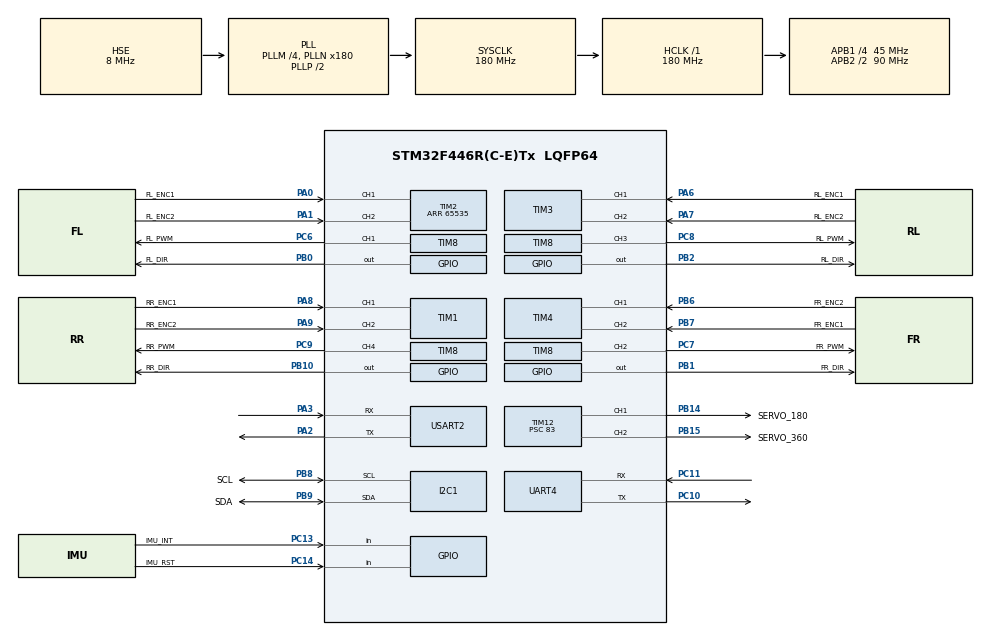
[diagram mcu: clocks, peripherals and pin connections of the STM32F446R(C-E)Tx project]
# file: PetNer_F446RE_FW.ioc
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Mcu.Family=STM32F4
Mcu.Name=STM32F446R(C-E)Tx
Mcu.Package=LQFP64
NVIC.PriorityGroup=NVIC_PRIORITYGROUP_0
NVIC.UART4_IRQn=true\:0\:0\:false\:false\:true\:true\:true\:true
NVIC.USART2_IRQn=true\:0\:0\:false\:false\:true\:true\:true\:true
PA0-WKUP.GPIO_Label=FL_ENC1
PA0-WKUP.Signal=S_TIM2_CH1_ETR
PA1.GPIO_Label=FL_ENC2
PA1.Signal=S_TIM2_CH2
PA13.Mode=Serial_Wire
PA13.Signal=SYS_JTMS-SWDIO
PA14.Mode=Serial_Wire
PA14.Signal=SYS_JTCK-SWCLK
PA2.Mode=Asynchronous
PA2.Signal=USART2_TX
PA3.Mode=Asynchronous
PA3.Signal=USART2_RX
PA6.GPIO_Label=RL_ENC1
PA6.Signal=S_TIM3_CH1
PA7.GPIO_Label=RL_ENC2
PA7.Signal=S_TIM3_CH2
PA8.GPIO_Label=RR_ENC1
PA8.Signal=S_TIM1_CH1
PA9.GPIO_Label=RR_ENC2
PA9.Signal=S_TIM1_CH2
PB0.GPIO_Label=FL_DIR
PB0.Signal=GPIO_Output
PB1.GPIO_Label=FR_DIR
PB1.Signal=GPIO_Output
PB10.GPIO_Label=RR_DIR
PB10.Signal=GPIO_Output
PB14.GPIO_Label=SERVO_180
PB14.Signal=S_TIM12_CH1
PB15.GPIO_Label=SERVO_360
PB15.Signal=S_TIM12_CH2
PB2.GPIO_Label=RL_DIR
PB2.Signal=GPIO_Output
PB6.GPIO_Label=FR_ENC2
PB6.Signal=S_TIM4_CH1
PB7.GPIO_Label=FR_ENC1
PB7.Signal=S_TIM4_CH2
PB8.GPIO_Label=SCL
PB8.Mode=I2C
PB8.Signal=I2C1_SCL
PB9.GPIO_Label=SDA
PB9.Mode=I2C
PB9.Signal=I2C1_SDA
PC10.Mode=Asynchronous
PC10.Signal=UART4_TX
PC11.Mode=Asynchronous
PC11.Signal=UART4_RX
PC13.GPIO_Label=IMU_INT
PC13.Signal=GPIO_Input
PC14-OSC32_IN.GPIO_Label=IMU_RST
PC14-OSC32_IN.GPIO_PuPd=GPIO_NOPULL
PC14-OSC32_IN.Signal=GPIO_Input
PC6.GPIO_Label=FL_PWM
PC6.Signal=S_TIM8_CH1
PC7.GPIO_Label=FR_PWM
PC7.Signal=S_TIM8_CH2
PC8.GPIO_Label=RL_PWM
PC8.Signal=S_TIM8_CH3
PC9.GPIO_Label=RR_PWM
PC9.Signal=S_TIM8_CH4
PH0-OSC_IN.Mode=HSE-External-Oscillator
PH0-OSC_IN.Signal=RCC_OSC_IN
PH1-OSC_OUT.Mode=HSE-External-Oscillator
PH1-OSC_OUT.Signal=RCC_OSC_OUT
ProjectManager.HeapSize=0x200
ProjectManager.StackSize=0x400
ProjectManager.TargetToolchain=STM32CubeIDE
RCC.48MHZClocksFreq_Value=84000000
RCC.AHBFreq_Value=180000000
RCC.APB1CLKDivider=RCC_HCLK_DIV4
RCC.APB1Freq_Value=45000000
RCC.APB1TimFreq_Value=90000000
RCC.APB2CLKDivider=RCC_HCLK_DIV2
RCC.APB2Freq_Value=90000000
RCC.APB2TimFreq_Value=180000000
RCC.CortexFreq_Value=180000000
RCC.FLatency-AdvancedSettings=FLASH_LATENCY_5
RCC.HCLKFreq_Value=180000000
RCC.HSE_VALUE=8000000
RCC.HSI_VALUE=16000000
RCC.PLLM=4
RCC.PLLN=180
RCC.PLLSourceVirtual=RCC_PLLSOURCE_HSE
RCC.SYSCLKFreq_VALUE=180000000
RCC.SYSCLKSource=RCC_SYSCLKSOURCE_PLLCLK
RCC.USBFreq_Value=180000000
RCC.VCOOutputFreq_Value=360000000
SH.S_TIM12_CH1.0=TIM12_CH1,PWM Generation1 CH1
SH.S_TIM12_CH2.0=TIM12_CH2,PWM Generation2 CH2
SH.S_TIM1_CH1.0=TIM1_CH1,Encoder_Interface
SH.S_TIM1_CH2.0=TIM1_CH2,Encoder_Interface
SH.S_TIM2_CH1_ETR.0=TIM2_CH1,Encoder_Interface
SH.S_TIM2_CH2.0=TIM2_CH2,Encoder_Interface
SH.S_TIM3_CH1.0=TIM3_CH1,Encoder_Interface
SH.S_TIM3_CH2.0=TIM3_CH2,Encoder_Interface
SH.S_TIM4_CH1.0=TIM4_CH1,Encoder_Interface
SH.S_TIM4_CH2.0=TIM4_CH2,Encoder_Interface
SH.S_TIM8_CH1.0=TIM8_CH1,PWM Generation1 CH1
SH.S_TIM8_CH2.0=TIM8_CH2,PWM Generation2 CH2
SH.S_TIM8_CH3.0=TIM8_CH3,PWM Generation3 CH3
SH.S_TIM8_CH4.0=TIM8_CH4,PWM Generation4 CH4
TIM1.EncoderMode=TIM_ENCODERMODE_TI12
TIM1.IC1Filter=10
TIM1.IC2Filter=10
TIM12.Channel-PWM\ Generation1\ CH1=TIM_CHANNEL_1
TIM12.Channel-PWM\ Generation2\ CH2=TIM_CHANNEL_2
TIM12.Period=19999
TIM12.Prescaler=83
TIM2.EncoderMode=TIM_ENCODERMODE_TI12
TIM2.IC1Filter=10
TIM2.IC2Filter=10
TIM2.Period=65535
TIM3.EncoderMode=TIM_ENCODERMODE_TI12
TIM3.IC1Filter=10
TIM3.IC2Filter=10
TIM4.EncoderMode=TIM_ENCODERMODE_TI12
TIM4.IC1Filter=10
TIM4.IC2Filter=10
TIM8.AutoReloadPreload=TIM_AUTORELOAD_PRELOAD_ENABLE
TIM8.Channel-PWM\ Generation1\ CH1=TIM_CHANNEL_1
TIM8.Channel-PWM\ Generation2\ CH2=TIM_CHANNEL_2
TIM8.Channel-PWM\ Generation3\ CH3=TIM_CHANNEL_3
TIM8.Channel-PWM\ Generation4\ CH4=TIM_CHANNEL_4
TIM8.Period=8999
UART4.VirtualMode=Asynchronous
USART2.VirtualMode=VM_ASYNC
VP_TIM12_VS_ClockSourceINT.Mode=Internal
VP_TIM8_VS_ClockSourceINT.Mode=Internal
board=NUCLEO-F446RE

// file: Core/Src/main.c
/* USER CODE BEGIN Header */
/**
  ******************************************************************************
  * @file           : main.c
  * @brief          : F446RE Syringe Control (Fix: RPi Command Support)
  ******************************************************************************
  */
/* USER CODE END Header */
#include "main.h"
#include <stdio.h>
#include <stdlib.h>
#include <string.h>
#include <math.h>

I2C_HandleTypeDef hi2c1;

TIM_HandleTypeDef htim1;
TIM_HandleTypeDef htim2;
TIM_HandleTypeDef htim3;
TIM_HandleTypeDef htim4;
TIM_HandleTypeDef htim8;  // 모터 PWM
TIM_HandleTypeDef htim12; // 서보 PWM (CH1: PB14, CH2: PB15)

UART_HandleTypeDef huart4; // RPi
UART_HandleTypeDef huart2; // PC

/* USER CODE BEGIN PV */
// [튜닝 파라미터]
#define PWM_LIMIT 999
#define MAX_TARGET_SPEED 400
#define SPEED_STEP 400

// 서보 1 (기존 360도 - PB15)
#define SERVO_CCW  1000
#define SERVO_STOP 1500
#define SERVO_CW   2000
#define SERVO_RUN_TIME 10000

// 서보 2 (주사기 - PB14)
#define SERVO2_MIN 500  // 0도 기준 펄스
#define SERVO2_MAX 2500 // 180도 기준 펄스

uint8_t rx_data_pc;
uint8_t rx_data_rpi;
volatile uint8_t new_key_received = 0;
char last_key = 's';
char tx_buffer[128];

int16_t user_set_speed = 0;

// [제어 모드]
// 0: 주행 모드 (기본)
// 1: PWM 직접 입력 모드 (p)
uint8_t control_mode = 0;
char input_buffer[10];
uint8_t input_idx = 0;

// [누적 벡터]
int current_vx = 0;
int current_vy = 0;
int current_omega = 0;

uint16_t servo1_pulse = SERVO_STOP; // PB15 (360)
uint16_t servo2_pulse = 1500;       // PB14 (주사기)

// [NEW] 주사기 각도 변수 (초기값 5도)
int servo2_angle = 5;

uint8_t is_servo1_running = 0;
uint32_t servo1_start_time = 0;
/* USER CODE END PV */

void SystemClock_Config(void);
static void MX_GPIO_Init(void);
static void MX_USART2_UART_Init(void);
static void MX_I2C1_Init(void);
static void MX_TIM1_Init(void);
static void MX_TIM2_Init(void);
static void MX_TIM3_Init(void);
static void MX_TIM4_Init(void);
static void MX_TIM8_Init(void);
static void MX_TIM12_Init(void);
static void MX_UART4_Init(void);

/* USER CODE BEGIN PFP */
int32_t clamp(int32_t value, int32_t min, int32_t max);
long map(long x, long in_min, long in_max, long out_min, long out_max);
void set_motor_state(int fl, int fr, int rl, int rr);
/* USER CODE END PFP */

/* USER CODE BEGIN 0 */
int32_t clamp(int32_t value, int32_t min, int32_t max) {
    if (value > max) return max;
    if (value < min) return min;
    return value;
}

// 각도 -> 펄스 변환 함수
long map(long x, long in_min, long in_max, long out_min, long out_max) {
  return (x - in_min) * (out_max - out_min) / (in_max - in_min) + out_min;
}

void set_motor_state(int fl, int fr, int rl, int rr)
{
    fl = clamp(fl, -PWM_LIMIT, PWM_LIMIT);
    fr = clamp(fr, -PWM_LIMIT, PWM_LIMIT);
    rl = clamp(rl, -PWM_LIMIT, PWM_LIMIT);
    rr = clamp(rr, -PWM_LIMIT, PWM_LIMIT);

    if (fl > 0) HAL_GPIO_WritePin(GPIOB, GPIO_PIN_0, GPIO_PIN_SET);
    else        HAL_GPIO_WritePin(GPIOB, GPIO_PIN_0, GPIO_PIN_RESET);
    __HAL_TIM_SET_COMPARE(&htim8, TIM_CHANNEL_1, abs(fl));

    if (fr > 0) HAL_GPIO_WritePin(GPIOB, GPIO_PIN_1, GPIO_PIN_SET);
    else        HAL_GPIO_WritePin(GPIOB, GPIO_PIN_1, GPIO_PIN_RESET);
    __HAL_TIM_SET_COMPARE(&htim8, TIM_CHANNEL_2, abs(fr));

    if (rl > 0) HAL_GPIO_WritePin(GPIOB, GPIO_PIN_2, GPIO_PIN_SET);
    else        HAL_GPIO_WritePin(GPIOB, GPIO_PIN_2, GPIO_PIN_RESET);
    __HAL_TIM_SET_COMPARE(&htim8, TIM_CHANNEL_3, abs(rl));

    if (rr > 0) HAL_GPIO_WritePin(GPIOB, GPIO_PIN_10, GPIO_PIN_SET);
    else        HAL_GPIO_WritePin(GPIOB, GPIO_PIN_10, GPIO_PIN_RESET);
    __HAL_TIM_SET_COMPARE(&htim8, TIM_CHANNEL_4, abs(rr));
}

void HAL_UART_RxCpltCallback(UART_HandleTypeDef *huart)
{
  if(huart->Instance == USART2) { // PC

    // --- [모드 1] PWM 속도 입력 ---
    if (control_mode == 1) {
        HAL_UART_Transmit(&huart2, &rx_data_pc, 1, 10);
        if (rx_data_pc == '\r' || rx_data_pc == '\n') {
            input_buffer[input_idx] = '\0';
            int new_val = atoi(input_buffer);
            if (new_val >= 0 && new_val <= 999) user_set_speed = new_val;
            sprintf(tx_buffer, "\r\n>> Speed Set: %d\r\n", user_set_speed);
            HAL_UART_Transmit(&huart2, (uint8_t*)tx_buffer, strlen(tx_buffer), 100);
            control_mode = 0; // 복귀
        } else if (input_idx < 9 && rx_data_pc >= '0' && rx_data_pc <= '9') {
            input_buffer[input_idx++] = rx_data_pc;
        }
    }
    // --- [모드 0] 일반 주행 + 키보드 제어 ---
    else {
        if (rx_data_pc == 'p' || rx_data_pc == 'P') {
            // PWM 입력 모드로 진입
            current_vx=0; current_vy=0; current_omega=0;
            control_mode=1; input_idx=0;
            char *msg = "\r\n[Input Speed (0-999)]: ";
            HAL_UART_Transmit(&huart2, (uint8_t*)msg, strlen(msg), 100);

        } else {
            // [중요 수정] k 로직을 여기서 제거하고 main 루프로 이동
            // 이제 k가 들어오면 last_key에 저장되어 main()에서 처리됨
            last_key = (char)rx_data_pc;
            new_key_received = 1;
        }
    }
    HAL_UART_Receive_IT(&huart2, &rx_data_pc, 1);
  }

  if(huart->Instance == UART4) { // RPi
      if(control_mode == 0) {
          last_key = (char)rx_data_rpi;
          new_key_received = 1;
      }
      HAL_UART_Receive_IT(&huart4, &rx_data_rpi, 1);
  }
}
/* USER CODE END 0 */

int main(void)
{
  HAL_Init();
  SystemClock_Config();

  MX_GPIO_Init();
  MX_TIM8_Init();
  MX_USART2_UART_Init();
  MX_I2C1_Init();
  MX_TIM1_Init();
  MX_TIM2_Init();
  MX_TIM3_Init();
  MX_TIM4_Init();
  MX_TIM12_Init();
  MX_UART4_Init();

  HAL_TIM_PWM_Start(&htim8, TIM_CHANNEL_1);
  HAL_TIM_PWM_Start(&htim8, TIM_CHANNEL_2);
  HAL_TIM_PWM_Start(&htim8, TIM_CHANNEL_3);
  HAL_TIM_PWM_Start(&htim8, TIM_CHANNEL_4);
  __HAL_TIM_MOE_ENABLE(&htim8);

  HAL_TIM_PWM_Start(&htim12, TIM_CHANNEL_1);
  HAL_TIM_PWM_Start(&htim12, TIM_CHANNEL_2);

  HAL_UART_Receive_IT(&huart4, &rx_data_rpi, 1);
  HAL_UART_Receive_IT(&huart2, &rx_data_pc, 1);

  // [초기 상태 설정] 시작하자마자 주사기를 5도 위치로!
  servo2_angle = 5;
  servo2_pulse = (uint16_t)map(servo2_angle, 0, 180, SERVO2_MIN, SERVO2_MAX);

  printf("\r\n=== F446RE Syringe Control (5~145 deg) ===\r\n");

  while (1)
  {
      // [A] 키 입력 처리 (주행 + 기능)
      if (new_key_received && control_mode == 0)
      {
          new_key_received = 0;
          switch(last_key)
          {
              case 'w': current_vx -= SPEED_STEP; break;
              case 'x': current_vx += SPEED_STEP; break;
              case 'a': current_vy -= SPEED_STEP; break;
              case 'd': current_vy += SPEED_STEP; break;
              case 'q': current_omega -= SPEED_STEP; break;
              case 'e': current_omega += SPEED_STEP; break;

              case 's':
                  current_vx=0; current_vy=0; current_omega=0;
                  //servo1_pulse=SERVO_STOP; is_servo1_running=0;
                  break;

              // 서보 1 (PB15 - 360도)
              case 'i': if(!is_servo1_running) { servo1_pulse=SERVO_CW; servo1_start_time=HAL_GetTick(); is_servo1_running=1; } break;
              case 'u': servo1_pulse=SERVO_CCW; is_servo1_running=0; break;
              case 'o': servo1_pulse=SERVO_CW;  is_servo1_running=0; break;

              // [NEW] 주사기 제어 로직을 여기로 통합 (PC, RPi 모두 작동)
              case 'k':
              case 'K':
                  servo2_angle += 35;
                  if (servo2_angle > 145) servo2_angle = 5;

                  servo2_pulse = (uint16_t)map(servo2_angle, 0, 180, SERVO2_MIN, SERVO2_MAX);

                  // PC 터미널로 상태 전송 (누가 눌렀든 PC에서 확인 가능)
                  sprintf(tx_buffer, "\r\n[Syringe] Angle: %d (Pulse: %d)\r\n", servo2_angle, servo2_pulse);
                  HAL_UART_Transmit(&huart2, (uint8_t*)tx_buffer, strlen(tx_buffer), 10);
                  break;
          }
          current_vx = clamp(current_vx, -MAX_TARGET_SPEED, MAX_TARGET_SPEED);
          current_vy = clamp(current_vy, -MAX_TARGET_SPEED, MAX_TARGET_SPEED);
          current_omega = clamp(current_omega, -MAX_TARGET_SPEED, MAX_TARGET_SPEED);
      }

      // [B] 서보 1 자동 정지
      if (is_servo1_running && (HAL_GetTick() - servo1_start_time >= SERVO_RUN_TIME)) {
          servo1_pulse = SERVO_STOP;
          is_servo1_running = 0;
      }

      // [C] 메카넘 계산
      int cal_fl = current_vx - current_vy - current_omega;
      int cal_fr = current_vx + current_vy + current_omega;
      int cal_rl = current_vx + current_vy - current_omega;
      int cal_rr = current_vx - current_vy + current_omega;

      // [D] 출력 업데이트
      set_motor_state(cal_fl, cal_fr, cal_rl, cal_rr);

      // 서보 1 (PB15 - 360도)
      __HAL_TIM_SET_COMPARE(&htim12, TIM_CHANNEL_2, servo1_pulse);

      // 서보 2 (PB14 - 주사기 각도)
      __HAL_TIM_SET_COMPARE(&htim12, TIM_CHANNEL_1, servo2_pulse);

      // [E] 모니터링
      static uint32_t last_print = 0;
      if (HAL_GetTick() - last_print > 200) {
          if(control_mode == 0) {
              sprintf(tx_buffer, "KEY:%c | FL:%d FR:%d | Syringe:%d deg\r\n", last_key, cal_fl, cal_fr, servo2_angle);
              HAL_UART_Transmit(&huart2, (uint8_t*)tx_buffer, strlen(tx_buffer), 10);
          }
          last_print = HAL_GetTick();
      }
      HAL_Delay(10);
  }
}

// TIM12 초기화
static void MX_TIM12_Init(void)
{
  __HAL_RCC_TIM12_CLK_ENABLE();
  __HAL_RCC_GPIOB_CLK_ENABLE();

  GPIO_InitTypeDef GPIO_InitStruct = {0};
  GPIO_InitStruct.Pin = GPIO_PIN_14 | GPIO_PIN_15;
  GPIO_InitStruct.Mode = GPIO_MODE_AF_PP;
  GPIO_InitStruct.Pull = GPIO_NOPULL;
  GPIO_InitStruct.Speed = GPIO_SPEED_FREQ_LOW;
  GPIO_InitStruct.Alternate = GPIO_AF9_TIM12;
  HAL_GPIO_Init(GPIOB, &GPIO_InitStruct);

  TIM_OC_InitTypeDef sConfigOC = {0};
  htim12.Instance = TIM12;
  htim12.Init.Prescaler = 89;
  htim12.Init.CounterMode = TIM_COUNTERMODE_UP;
  htim12.Init.Period = 19999;
  htim12.Init.ClockDivision = TIM_CLOCKDIVISION_DIV1;
  htim12.Init.AutoReloadPreload = TIM_AUTORELOAD_PRELOAD_DISABLE;

  if (HAL_TIM_PWM_Init(&htim12) != HAL_OK) Error_Handler();

  sConfigOC.OCMode = TIM_OCMODE_PWM1;
  sConfigOC.Pulse = 1500;
  sConfigOC.OCPolarity = TIM_OCPOLARITY_HIGH;
  sConfigOC.OCFastMode = TIM_OCFAST_DISABLE;

  if (HAL_TIM_PWM_ConfigChannel(&htim12, &sConfigOC, TIM_CHANNEL_1) != HAL_OK) Error_Handler();
  if (HAL_TIM_PWM_ConfigChannel(&htim12, &sConfigOC, TIM_CHANNEL_2) != HAL_OK) Error_Handler();
}

// (나머지 초기화 함수 생략 - 동일)
static void MX_TIM8_Init(void) {
  __HAL_RCC_TIM8_CLK_ENABLE();
  __HAL_RCC_GPIOC_CLK_ENABLE();
  GPIO_InitTypeDef GPIO_InitStruct = {0};
  GPIO_InitStruct.Pin = GPIO_PIN_6|GPIO_PIN_7|GPIO_PIN_8|GPIO_PIN_9;
  GPIO_InitStruct.Mode = GPIO_MODE_AF_PP;
  GPIO_InitStruct.Pull = GPIO_NOPULL;
  GPIO_InitStruct.Speed = GPIO_SPEED_FREQ_LOW;
  GPIO_InitStruct.Alternate = GPIO_AF3_TIM8;
  HAL_GPIO_Init(GPIOC, &GPIO_InitStruct);
  TIM_MasterConfigTypeDef sMasterConfig = {0};
  TIM_OC_InitTypeDef sConfigOC = {0};
  TIM_BreakDeadTimeConfigTypeDef sBreakDeadTimeConfig = {0};
  htim8.Instance = TIM8;
  htim8.Init.Prescaler = 179;
  htim8.Init.CounterMode = TIM_COUNTERMODE_UP;
  htim8.Init.Period = 999;
  htim8.Init.ClockDivision = TIM_CLOCKDIVISION_DIV1;
  htim8.Init.RepetitionCounter = 0;
  htim8.Init.AutoReloadPreload = TIM_AUTORELOAD_PRELOAD_ENABLE;
  HAL_TIM_PWM_Init(&htim8);
  sMasterConfig.MasterOutputTrigger = TIM_TRGO_RESET;
  sMasterConfig.MasterSlaveMode = TIM_MASTERSLAVEMODE_DISABLE;
  HAL_TIMEx_MasterConfigSynchronization(&htim8, &sMasterConfig);
  sConfigOC.OCMode = TIM_OCMODE_PWM1;
  sConfigOC.Pulse = 0;
  sConfigOC.OCPolarity = TIM_OCPOLARITY_HIGH;
  sConfigOC.OCNPolarity = TIM_OCNPOLARITY_HIGH;
  sConfigOC.OCFastMode = TIM_OCFAST_DISABLE;
  sConfigOC.OCIdleState = TIM_OCIDLESTATE_RESET;
  sConfigOC.OCNIdleState = TIM_OCNIDLESTATE_RESET;
  HAL_TIM_PWM_ConfigChannel(&htim8, &sConfigOC, TIM_CHANNEL_1);
  HAL_TIM_PWM_ConfigChannel(&htim8, &sConfigOC, TIM_CHANNEL_2);
  HAL_TIM_PWM_ConfigChannel(&htim8, &sConfigOC, TIM_CHANNEL_3);
  HAL_TIM_PWM_ConfigChannel(&htim8, &sConfigOC, TIM_CHANNEL_4);
  sBreakDeadTimeConfig.OffStateRunMode = TIM_OSSR_DISABLE;
  sBreakDeadTimeConfig.OffStateIDLEMode = TIM_OSSI_DISABLE;
  sBreakDeadTimeConfig.LockLevel = TIM_LOCKLEVEL_OFF;
  sBreakDeadTimeConfig.DeadTime = 0;
  sBreakDeadTimeConfig.BreakState = TIM_BREAK_DISABLE;
  sBreakDeadTimeConfig.BreakPolarity = TIM_BREAKPOLARITY_HIGH;
  sBreakDeadTimeConfig.AutomaticOutput = TIM_AUTOMATICOUTPUT_DISABLE;
  HAL_TIMEx_ConfigBreakDeadTime(&htim8, &sBreakDeadTimeConfig);
  HAL_TIM_MspPostInit(&htim8);
}
void SystemClock_Config(void) {
  RCC_OscInitTypeDef RCC_OscInitStruct = {0};
  RCC_ClkInitTypeDef RCC_ClkInitStruct = {0};
  __HAL_RCC_PWR_CLK_ENABLE();
  __HAL_PWR_VOLTAGESCALING_CONFIG(PWR_REGULATOR_VOLTAGE_SCALE1);
  RCC_OscInitStruct.OscillatorType = RCC_OSCILLATORTYPE_HSE;
  RCC_OscInitStruct.HSEState = RCC_HSE_ON;
  RCC_OscInitStruct.PLL.PLLState = RCC_PLL_ON;
  RCC_OscInitStruct.PLL.PLLSource = RCC_PLLSOURCE_HSE;
  RCC_OscInitStruct.PLL.PLLM = 4;
  RCC_OscInitStruct.PLL.PLLN = 180;
  RCC_OscInitStruct.PLL.PLLP = RCC_PLLP_DIV2;
  RCC_OscInitStruct.PLL.PLLQ = 2;
  RCC_OscInitStruct.PLL.PLLR = 2;
  HAL_RCC_OscConfig(&RCC_OscInitStruct);
  HAL_PWREx_EnableOverDrive();
  RCC_ClkInitStruct.ClockType = RCC_CLOCKTYPE_HCLK|RCC_CLOCKTYPE_SYSCLK|RCC_CLOCKTYPE_PCLK1|RCC_CLOCKTYPE_PCLK2;
  RCC_ClkInitStruct.SYSCLKSource = RCC_SYSCLKSOURCE_PLLCLK;
  RCC_ClkInitStruct.AHBCLKDivider = RCC_SYSCLK_DIV1;
  RCC_ClkInitStruct.APB1CLKDivider = RCC_HCLK_DIV4;
  RCC_ClkInitStruct.APB2CLKDivider = RCC_HCLK_DIV2;
  HAL_RCC_ClockConfig(&RCC_ClkInitStruct, FLASH_LATENCY_5);
}
static void MX_GPIO_Init(void) { GPIO_InitTypeDef GPIO_InitStruct = {0}; __HAL_RCC_GPIOC_CLK_ENABLE(); __HAL_RCC_GPIOH_CLK_ENABLE(); __HAL_RCC_GPIOA_CLK_ENABLE(); __HAL_RCC_GPIOB_CLK_ENABLE(); HAL_GPIO_WritePin(GPIOB, GPIO_PIN_0|GPIO_PIN_1|GPIO_PIN_2|GPIO_PIN_10, GPIO_PIN_RESET); GPIO_InitStruct.Pin = GPIO_PIN_13; GPIO_InitStruct.Mode = GPIO_MODE_IT_FALLING; GPIO_InitStruct.Pull = GPIO_NOPULL; HAL_GPIO_Init(GPIOC, &GPIO_InitStruct); GPIO_InitStruct.Pin = GPIO_PIN_0|GPIO_PIN_1|GPIO_PIN_2|GPIO_PIN_10; GPIO_InitStruct.Mode = GPIO_MODE_OUTPUT_PP; GPIO_InitStruct.Pull = GPIO_NOPULL; GPIO_InitStruct.Speed = GPIO_SPEED_FREQ_LOW; HAL_GPIO_Init(GPIOB, &GPIO_InitStruct); }
static void MX_I2C1_Init(void) { hi2c1.Instance = I2C1; hi2c1.Init.ClockSpeed = 100000; hi2c1.Init.DutyCycle = I2C_DUTYCYCLE_2; hi2c1.Init.OwnAddress1 = 0; hi2c1.Init.AddressingMode = I2C_ADDRESSINGMODE_7BIT; hi2c1.Init.DualAddressMode = I2C_DUALADDRESS_DISABLE; hi2c1.Init.OwnAddress2 = 0; hi2c1.Init.GeneralCallMode = I2C_GENERALCALL_DISABLE; hi2c1.Init.NoStretchMode = I2C_NOSTRETCH_DISABLE; HAL_I2C_Init(&hi2c1); }
static void MX_TIM1_Init(void) { TIM_Encoder_InitTypeDef sConfig = {0}; TIM_MasterConfigTypeDef sMasterConfig = {0}; htim1.Instance = TIM1; htim1.Init.Prescaler = 0; htim1.Init.CounterMode = TIM_COUNTERMODE_UP; htim1.Init.Period = 65535; htim1.Init.ClockDivision = TIM_CLOCKDIVISION_DIV1; htim1.Init.RepetitionCounter = 0; htim1.Init.AutoReloadPreload = TIM_AUTORELOAD_PRELOAD_DISABLE; sConfig.EncoderMode = TIM_ENCODERMODE_TI12; sConfig.IC1Polarity = TIM_ICPOLARITY_RISING; sConfig.IC1Selection = TIM_ICSELECTION_DIRECTTI; sConfig.IC1Prescaler = TIM_ICPSC_DIV1; sConfig.IC1Filter = 10; sConfig.IC2Polarity = TIM_ICPOLARITY_RISING; sConfig.IC2Selection = TIM_ICSELECTION_DIRECTTI; sConfig.IC2Prescaler = TIM_ICPSC_DIV1; sConfig.IC2Filter = 10; HAL_TIM_Encoder_Init(&htim1, &sConfig); sMasterConfig.MasterOutputTrigger = TIM_TRGO_RESET; sMasterConfig.MasterSlaveMode = TIM_MASTERSLAVEMODE_DISABLE; HAL_TIMEx_MasterConfigSynchronization(&htim1, &sMasterConfig); }
static void MX_TIM2_Init(void) { TIM_Encoder_InitTypeDef sConfig = {0}; TIM_MasterConfigTypeDef sMasterConfig = {0}; htim2.Instance = TIM2; htim2.Init.Prescaler = 0; htim2.Init.CounterMode = TIM_COUNTERMODE_UP; htim2.Init.Period = 65535; htim2.Init.ClockDivision = TIM_CLOCKDIVISION_DIV1; htim2.Init.AutoReloadPreload = TIM_AUTORELOAD_PRELOAD_DISABLE; sConfig.EncoderMode = TIM_ENCODERMODE_TI12; sConfig.IC1Polarity = TIM_ICPOLARITY_RISING; sConfig.IC1Selection = TIM_ICSELECTION_DIRECTTI; sConfig.IC1Prescaler = TIM_ICPSC_DIV1; sConfig.IC1Filter = 10; sConfig.IC2Polarity = TIM_ICPOLARITY_RISING; sConfig.IC2Selection = TIM_ICSELECTION_DIRECTTI; sConfig.IC2Prescaler = TIM_ICPSC_DIV1; sConfig.IC2Filter = 10; HAL_TIM_Encoder_Init(&htim2, &sConfig); sMasterConfig.MasterOutputTrigger = TIM_TRGO_RESET; sMasterConfig.MasterSlaveMode = TIM_MASTERSLAVEMODE_DISABLE; HAL_TIMEx_MasterConfigSynchronization(&htim2, &sMasterConfig); }
static void MX_TIM3_Init(void) { TIM_Encoder_InitTypeDef sConfig = {0}; TIM_MasterConfigTypeDef sMasterConfig = {0}; htim3.Instance = TIM3; htim3.Init.Prescaler = 0; htim3.Init.CounterMode = TIM_COUNTERMODE_UP; htim3.Init.Period = 65535; htim3.Init.ClockDivision = TIM_CLOCKDIVISION_DIV1; htim3.Init.AutoReloadPreload = TIM_AUTORELOAD_PRELOAD_DISABLE; sConfig.EncoderMode = TIM_ENCODERMODE_TI12; sConfig.IC1Polarity = TIM_ICPOLARITY_RISING; sConfig.IC1Selection = TIM_ICSELECTION_DIRECTTI; sConfig.IC1Prescaler = TIM_ICPSC_DIV1; sConfig.IC1Filter = 10; sConfig.IC2Polarity = TIM_ICPOLARITY_RISING; sConfig.IC2Selection = TIM_ICSELECTION_DIRECTTI; sConfig.IC2Prescaler = TIM_ICPSC_DIV1; sConfig.IC2Filter = 10; HAL_TIM_Encoder_Init(&htim3, &sConfig); sMasterConfig.MasterOutputTrigger = TIM_TRGO_RESET; sMasterConfig.MasterSlaveMode = TIM_MASTERSLAVEMODE_DISABLE; HAL_TIMEx_MasterConfigSynchronization(&htim3, &sMasterConfig); }
static void MX_TIM4_Init(void) { TIM_Encoder_InitTypeDef sConfig = {0}; TIM_MasterConfigTypeDef sMasterConfig = {0}; htim4.Instance = TIM4; htim4.Init.Prescaler = 0; htim4.Init.CounterMode = TIM_COUNTERMODE_UP; htim4.Init.Period = 65535; htim4.Init.ClockDivision = TIM_CLOCKDIVISION_DIV1; htim4.Init.AutoReloadPreload = TIM_AUTORELOAD_PRELOAD_DISABLE; sConfig.EncoderMode = TIM_ENCODERMODE_TI12; sConfig.IC1Polarity = TIM_ICPOLARITY_RISING; sConfig.IC1Selection = TIM_ICSELECTION_DIRECTTI; sConfig.IC1Prescaler = TIM_ICPSC_DIV1; sConfig.IC1Filter = 10; sConfig.IC2Polarity = TIM_ICPOLARITY_RISING; sConfig.IC2Selection = TIM_ICSELECTION_DIRECTTI; sConfig.IC2Prescaler = TIM_ICPSC_DIV1; sConfig.IC2Filter = 10; HAL_TIM_Encoder_Init(&htim4, &sConfig); sMasterConfig.MasterOutputTrigger = TIM_TRGO_RESET; sMasterConfig.MasterSlaveMode = TIM_MASTERSLAVEMODE_DISABLE; HAL_TIMEx_MasterConfigSynchronization(&htim4, &sMasterConfig); }
static void MX_UART4_Init(void) { huart4.Instance = UART4; huart4.Init.BaudRate = 115200; huart4.Init.WordLength = UART_WORDLENGTH_8B; huart4.Init.StopBits = UART_STOPBITS_1; huart4.Init.Parity = UART_PARITY_NONE; huart4.Init.Mode = UART_MODE_TX_RX; huart4.Init.HwFlowCtl = UART_HWCONTROL_NONE; huart4.Init.OverSampling = UART_OVERSAMPLING_16; HAL_UART_Init(&huart4); }
static void MX_USART2_UART_Init(void) { huart2.Instance = USART2; huart2.Init.BaudRate = 115200; huart2.Init.WordLength = UART_WORDLENGTH_8B; huart2.Init.StopBits = UART_STOPBITS_1; huart2.Init.Parity = UART_PARITY_NONE; huart2.Init.Mode = UART_MODE_TX_RX; huart2.Init.HwFlowCtl = UART_HWCONTROL_NONE; huart2.Init.OverSampling = UART_OVERSAMPLING_16; HAL_UART_Init(&huart2); }
void Error_Handler(void) { __disable_irq(); while (1) {} }
